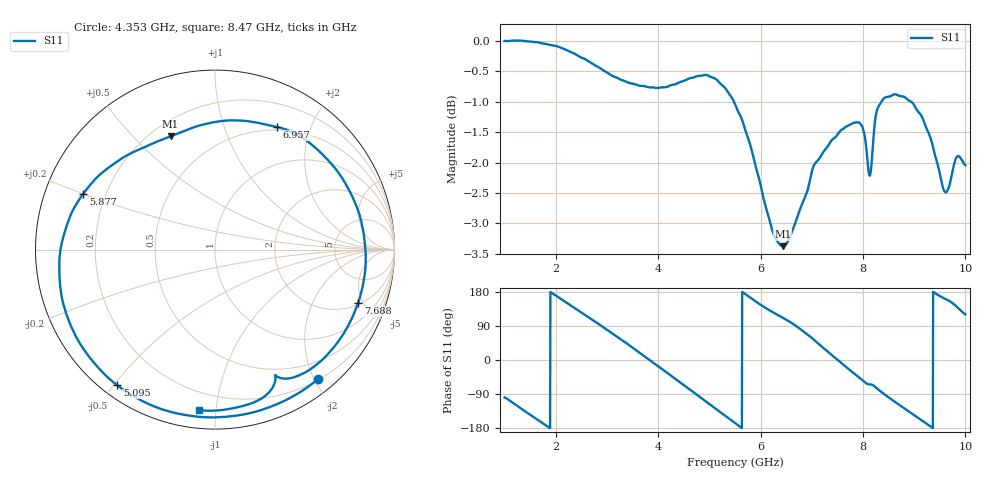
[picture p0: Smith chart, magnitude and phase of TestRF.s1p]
# GHz S MA R 50
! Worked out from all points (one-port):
!   1601 points, 1 GHz to 10 GHz, reference 50 ohm
!   lowest |S11| = -3.4 dB at 6.434 GHz (marker M1), VSWR 5.21, Z = 13.8 + j32.3 ohm
!   |S11| at or under -10 dB: nowhere
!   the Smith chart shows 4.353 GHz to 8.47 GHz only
!   S11 on the Smith chart (normalised r, x): 4.353 GHz: 0.21, -2.06; 5.095 GHz: 0.04, -0.51; 5.877 GHz: 0.12, +0.20; 6.957 GHz: 0.46, +1.53; 7.688 GHz: 2.13, -4.59; 8.47 GHz: 0.10, -0.90
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1  0.9999 -98.8
1.275625  1.001 -123.8
1.6075  0.9977 -154.5
2.125  0.9862 158.9
2.704375  0.9583 107.0
2.974375  0.9432 82.3
3.25  0.93 56.6
3.5425  0.9212 28.5
3.806875  0.9161 2.5
4.076875  0.9156 -24.2
4.3525  0.9219 -51.5
4.375  0.9228 -53.7
4.740625  0.9349 -90.2
5.095  0.9317 -125.8
5.5  0.8872 -166.2
5.876875  0.797 157.0
6.43375  0.678 111.4
6.625  0.6987 96.0
6.956875  0.7657 63.2
7.345  0.8233 18.2
7.688125  0.8511 -20.5
7.75  0.8536 -27.2
8.003125  0.8457 -55.1
8.47  0.8991 -95.7
8.875  0.8944 -134.1
9.330625  0.8293 -176.4
9.780625  0.7922 146.7
10  0.7903 120.6
